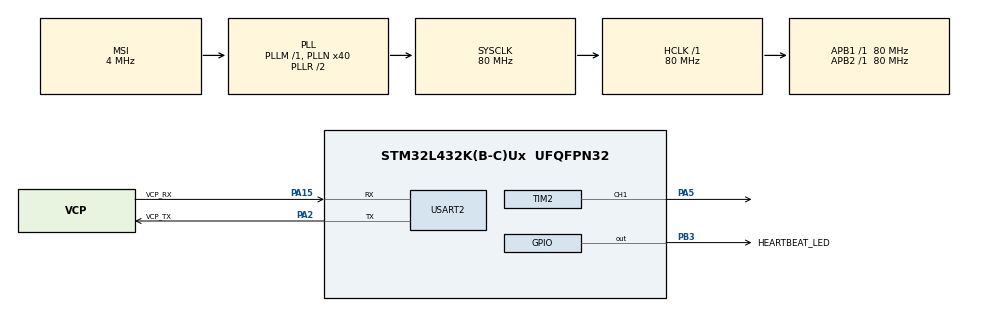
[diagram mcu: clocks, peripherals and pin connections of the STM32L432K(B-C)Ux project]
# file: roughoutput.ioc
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Mcu.Family=STM32L4
RCC.MSI_VALUE=4000000
PA14\ (JTCK-SWCLK).Mode=Serial_Wire
SH.S_TIM2_CH1.0=TIM2_CH1,PWM Generation1 CH1
RCC.CortexFreq_Value=80000000
PA0.GPIO_Label=MCO [High speed clock in]
PC15-OSC32_OUT\ (PC15).Signal=RCC_OSC32_OUT
VP_TIM16_VS_ClockSourceINT.Mode=Enable_Timer
PA15\ (JTDI).Signal=USART2_RX
PC15-OSC32_OUT\ (PC15).Mode=LSE-External-Oscillator
PA14\ (JTCK-SWCLK).GPIO_Label=SWCLK
PB3\ (JTDO-TRACESWO).GPIO_Label=HEARTBEAT_LED
RCC.SYSCLKSource=RCC_SYSCLKSOURCE_PLLCLK
ProjectManager.StackSize=0x400
PB3\ (JTDO-TRACESWO).Signal=GPIO_Output
PC14-OSC32_IN\ (PC14).Mode=LSE-External-Oscillator
PA14\ (JTCK-SWCLK).Signal=SYS_JTCK-SWCLK
RCC.HSI16_VALUE=16000000
PA15\ (JTDI).Mode=Asynchronous
ProjectManager.TargetToolchain=STM32CubeIDE
RCC.HCLKFreq_Value=80000000
RCC.APB2TimFreq_Value=80000000
RCC.USBFreq_Value=16000000
RCC.AHBFreq_Value=80000000
PA5.Signal=S_TIM2_CH1
RCC.HSE_VALUE=8000000
board=NUCLEO-L432KC
USART2.VirtualMode-Asynchronous=VM_ASYNC
RCC.VCOOutputFreq_Value=160000000
RCC.PLLMUL=RCC_PLLMUL_4
TIM16.Period=2000-1
RCC.APB2Freq_Value=80000000
PA13\ (JTMS-SWDIO).GPIO_Label=SWDIO
VP_TIM2_VS_ClockSourceINT.Mode=Internal
RCC.ADCFreq_Value=16000000
PA0.Mode=HSE-External-Clock-Source-for-LittleOrca
TIM2.Channel-PWM\ Generation1\ CH1=TIM_CHANNEL_1
TIM2.Period=100-1
PA15\ (JTDI).GPIO_Label=VCP_RX
Mcu.Name=STM32L432K(B-C)Ux
PA2.Signal=USART2_TX
PA0.Signal=RCC_CK_IN
PA13\ (JTMS-SWDIO).Mode=Serial_Wire
RCC.SYSCLKFreq_VALUE=80000000
Mcu.Package=UFQFPN32
TIM2.Prescaler=1-1
PC14-OSC32_IN\ (PC14).Signal=RCC_OSC32_IN
PA2.GPIO_Label=VCP_TX
ProjectManager.HeapSize=0x200
RCC.HSI_VALUE=16000000
NVIC.TIM1_UP_TIM16_IRQn=true\:0\:0\:false\:false\:true\:true\:true
NVIC.PriorityGroup=NVIC_PRIORITYGROUP_4
RCC.PLLN=40
RCC.APB1TimFreq_Value=80000000
PA2.Mode=Asynchronous
TIM2.AutoReloadPreload=TIM_AUTORELOAD_PRELOAD_ENABLE
TIM16.Prescaler=40000-1
PA13\ (JTMS-SWDIO).Signal=SYS_JTMS-SWDIO
RCC.APB1Freq_Value=80000000
RCC.HSI48_VALUE=48000000

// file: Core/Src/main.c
/* USER CODE BEGIN Header */
/**
  ******************************************************************************
  * @file           : main.c
  * @brief          : Main program body
  ******************************************************************************
  * @attention
  *
  * <h2><center>&copy; Copyright (c) 2021 STMicroelectronics.
  * All rights reserved.</center></h2>
  *
  * This software component is licensed by ST under BSD 3-Clause license,
  * the "License"; You may not use this file except in compliance with the
  * License. You may obtain a copy of the License at:
  *                        opensource.org/licenses/BSD-3-Clause
  *
  ******************************************************************************
  */
/* USER CODE END Header */
#include "main.h"

TIM_HandleTypeDef htim2;
TIM_HandleTypeDef htim16;

UART_HandleTypeDef huart2;

void SystemClock_Config(void);
static void MX_GPIO_Init(void);
static void MX_USART2_UART_Init(void);
static void MX_TIM16_Init(void);
static void MX_TIM2_Init(void);

/* USER CODE BEGIN 0 */

// Values for PWM demo. We want to rotate through a 33% and 67% duty cycle
// at 800 kHz every three seconds.
unsigned short int signalTypeIndex = 0;
unsigned short int signalTypes[] = {75, 0, 33, 0};
unsigned short int signalTypeCount = 4;
unsigned short int signalRotateInterval = 3;
unsigned short int signalRotateCount = 0;

/* USER CODE END 0 */

int main(void)
{

  /* MCU Configuration--------------------------------------------------------*/

  /* Reset of all peripherals, Initializes the Flash interface and the Systick. */
  HAL_Init();

  /* Configure the system clock */
  SystemClock_Config();

  /* Initialize all configured peripherals */
  MX_GPIO_Init();
  MX_USART2_UART_Init();
  MX_TIM16_Init();
  MX_TIM2_Init();
  /* USER CODE BEGIN 2 */

  HAL_TIM_Base_Start_IT(&htim16);
  HAL_TIM_PWM_Start(&htim2, TIM_CHANNEL_1);

  TIM2->CCR1 = 0;
  /* USER CODE END 2 */

  /* Infinite loop */
  while (1)
  {

  }
}

void SystemClock_Config(void)
{
  RCC_OscInitTypeDef RCC_OscInitStruct = {0};
  RCC_ClkInitTypeDef RCC_ClkInitStruct = {0};
  RCC_PeriphCLKInitTypeDef PeriphClkInit = {0};

  /** Configure LSE Drive Capability
  */
  HAL_PWR_EnableBkUpAccess();
  __HAL_RCC_LSEDRIVE_CONFIG(RCC_LSEDRIVE_LOW);
  /** Initializes the RCC Oscillators according to the specified parameters
  * in the RCC_OscInitTypeDef structure.
  */
  RCC_OscInitStruct.OscillatorType = RCC_OSCILLATORTYPE_LSE|RCC_OSCILLATORTYPE_MSI;
  RCC_OscInitStruct.LSEState = RCC_LSE_ON;
  RCC_OscInitStruct.MSIState = RCC_MSI_ON;
  RCC_OscInitStruct.MSICalibrationValue = 0;
  RCC_OscInitStruct.MSIClockRange = RCC_MSIRANGE_6;
  RCC_OscInitStruct.PLL.PLLState = RCC_PLL_ON;
  RCC_OscInitStruct.PLL.PLLSource = RCC_PLLSOURCE_MSI;
  RCC_OscInitStruct.PLL.PLLM = 1;
  RCC_OscInitStruct.PLL.PLLN = 40;
  RCC_OscInitStruct.PLL.PLLP = RCC_PLLP_DIV7;
  RCC_OscInitStruct.PLL.PLLQ = RCC_PLLQ_DIV2;
  RCC_OscInitStruct.PLL.PLLR = RCC_PLLR_DIV2;
  if (HAL_RCC_OscConfig(&RCC_OscInitStruct) != HAL_OK)
  {
    Error_Handler();
  }
  /** Initializes the CPU, AHB and APB buses clocks
  */
  RCC_ClkInitStruct.ClockType = RCC_CLOCKTYPE_HCLK|RCC_CLOCKTYPE_SYSCLK
                              |RCC_CLOCKTYPE_PCLK1|RCC_CLOCKTYPE_PCLK2;
  RCC_ClkInitStruct.SYSCLKSource = RCC_SYSCLKSOURCE_PLLCLK;
  RCC_ClkInitStruct.AHBCLKDivider = RCC_SYSCLK_DIV1;
  RCC_ClkInitStruct.APB1CLKDivider = RCC_HCLK_DIV1;
  RCC_ClkInitStruct.APB2CLKDivider = RCC_HCLK_DIV1;

  if (HAL_RCC_ClockConfig(&RCC_ClkInitStruct, FLASH_LATENCY_4) != HAL_OK)
  {
    Error_Handler();
  }
  PeriphClkInit.PeriphClockSelection = RCC_PERIPHCLK_USART2;
  PeriphClkInit.Usart2ClockSelection = RCC_USART2CLKSOURCE_PCLK1;
  if (HAL_RCCEx_PeriphCLKConfig(&PeriphClkInit) != HAL_OK)
  {
    Error_Handler();
  }
  /** Configure the main internal regulator output voltage
  */
  if (HAL_PWREx_ControlVoltageScaling(PWR_REGULATOR_VOLTAGE_SCALE1) != HAL_OK)
  {
    Error_Handler();
  }
  /** Enable MSI Auto calibration
  */
  HAL_RCCEx_EnableMSIPLLMode();
}

static void MX_TIM2_Init(void)
{

  TIM_ClockConfigTypeDef sClockSourceConfig = {0};
  TIM_MasterConfigTypeDef sMasterConfig = {0};
  TIM_OC_InitTypeDef sConfigOC = {0};

  htim2.Instance = TIM2;
  htim2.Init.Prescaler = 1-1;
  htim2.Init.CounterMode = TIM_COUNTERMODE_UP;
  htim2.Init.Period = 100-1;
  htim2.Init.ClockDivision = TIM_CLOCKDIVISION_DIV1;
  htim2.Init.AutoReloadPreload = TIM_AUTORELOAD_PRELOAD_ENABLE;
  if (HAL_TIM_Base_Init(&htim2) != HAL_OK)
  {
    Error_Handler();
  }
  sClockSourceConfig.ClockSource = TIM_CLOCKSOURCE_INTERNAL;
  if (HAL_TIM_ConfigClockSource(&htim2, &sClockSourceConfig) != HAL_OK)
  {
    Error_Handler();
  }
  if (HAL_TIM_PWM_Init(&htim2) != HAL_OK)
  {
    Error_Handler();
  }
  sMasterConfig.MasterOutputTrigger = TIM_TRGO_RESET;
  sMasterConfig.MasterSlaveMode = TIM_MASTERSLAVEMODE_DISABLE;
  if (HAL_TIMEx_MasterConfigSynchronization(&htim2, &sMasterConfig) != HAL_OK)
  {
    Error_Handler();
  }
  sConfigOC.OCMode = TIM_OCMODE_PWM1;
  sConfigOC.Pulse = 0;
  sConfigOC.OCPolarity = TIM_OCPOLARITY_HIGH;
  sConfigOC.OCFastMode = TIM_OCFAST_DISABLE;
  if (HAL_TIM_PWM_ConfigChannel(&htim2, &sConfigOC, TIM_CHANNEL_1) != HAL_OK)
  {
    Error_Handler();
  }
  HAL_TIM_MspPostInit(&htim2);

}

static void MX_TIM16_Init(void)
{

  htim16.Instance = TIM16;
  htim16.Init.Prescaler = 40000-1;
  htim16.Init.CounterMode = TIM_COUNTERMODE_UP;
  htim16.Init.Period = 2000-1;
  htim16.Init.ClockDivision = TIM_CLOCKDIVISION_DIV1;
  htim16.Init.RepetitionCounter = 0;
  htim16.Init.AutoReloadPreload = TIM_AUTORELOAD_PRELOAD_DISABLE;
  if (HAL_TIM_Base_Init(&htim16) != HAL_OK)
  {
    Error_Handler();
  }

}

static void MX_USART2_UART_Init(void)
{

  huart2.Instance = USART2;
  huart2.Init.BaudRate = 115200;
  huart2.Init.WordLength = UART_WORDLENGTH_8B;
  huart2.Init.StopBits = UART_STOPBITS_1;
  huart2.Init.Parity = UART_PARITY_NONE;
  huart2.Init.Mode = UART_MODE_TX_RX;
  huart2.Init.HwFlowCtl = UART_HWCONTROL_NONE;
  huart2.Init.OverSampling = UART_OVERSAMPLING_16;
  huart2.Init.OneBitSampling = UART_ONE_BIT_SAMPLE_DISABLE;
  huart2.AdvancedInit.AdvFeatureInit = UART_ADVFEATURE_NO_INIT;
  if (HAL_UART_Init(&huart2) != HAL_OK)
  {
    Error_Handler();
  }

}

static void MX_GPIO_Init(void)
{
  GPIO_InitTypeDef GPIO_InitStruct = {0};

  /* GPIO Ports Clock Enable */
  __HAL_RCC_GPIOC_CLK_ENABLE();
  __HAL_RCC_GPIOA_CLK_ENABLE();
  __HAL_RCC_GPIOB_CLK_ENABLE();

  /*Configure GPIO pin Output Level */
  HAL_GPIO_WritePin(HEARTBEAT_LED_GPIO_Port, HEARTBEAT_LED_Pin, GPIO_PIN_RESET);

  /*Configure GPIO pin : HEARTBEAT_LED_Pin */
  GPIO_InitStruct.Pin = HEARTBEAT_LED_Pin;
  GPIO_InitStruct.Mode = GPIO_MODE_OUTPUT_PP;
  GPIO_InitStruct.Pull = GPIO_NOPULL;
  GPIO_InitStruct.Speed = GPIO_SPEED_FREQ_LOW;
  HAL_GPIO_Init(HEARTBEAT_LED_GPIO_Port, &GPIO_InitStruct);

}

/* USER CODE BEGIN 4 */

// Timer callback function.
void HAL_TIM_PeriodElapsedCallback(TIM_HandleTypeDef *hTimer)
{
	if(hTimer == &htim16)
	{
		HAL_GPIO_TogglePin(HEARTBEAT_LED_GPIO_Port, HEARTBEAT_LED_Pin);

		// PWM demo; rotate through the valid signals\intervals that we need
		// to run our target LED's.
		signalRotateCount++;
		signalRotateCount %= signalRotateInterval;
		if(signalRotateCount == 0)
		{
			signalTypeIndex++;
			signalTypeIndex %= signalTypeCount;
			TIM2->CCR1 = signalTypes[signalTypeIndex];
		}
	}
}

/* USER CODE END 4 */

void Error_Handler(void)
{
  __disable_irq();
  while (1)
  {
  }
}

/************************ (C) COPYRIGHT STMicroelectronics *****END OF FILE****/
